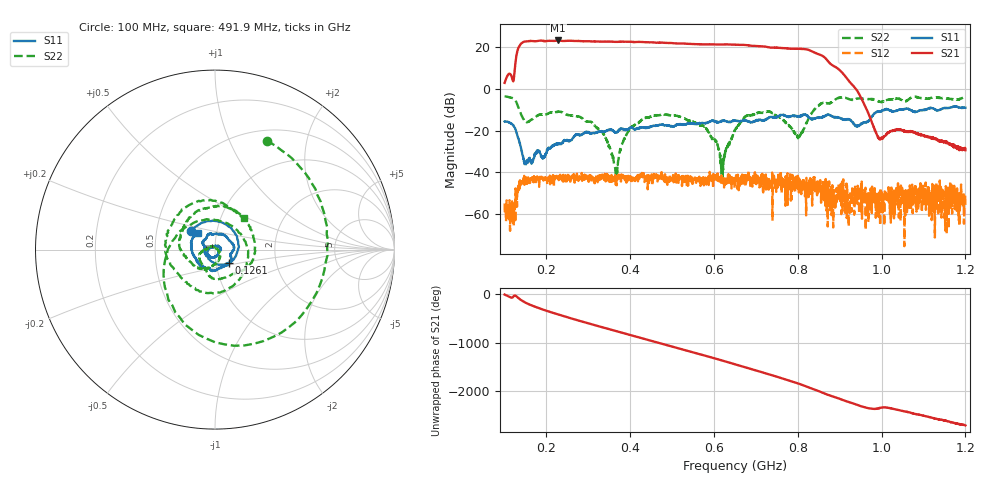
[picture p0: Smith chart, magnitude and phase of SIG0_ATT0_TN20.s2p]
# Hz S DB R 50
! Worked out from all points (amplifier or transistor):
!   1601 points, 100 MHz to 1.2 GHz, reference 50 ohm
!   highest |S21| = 23.4 dB at 227.9 MHz (marker M1)
!   |S21| within 3 dB of that: 134.3 MHz to 723.8 MHz (589.4 MHz wide, 137 % of centre)
!   unconditionally stable (mu >= 1): start of sweep to end of sweep
!   at 282.9 MHz: K = 4.85, MAG = 23.3 dB, |S12| = -43.1 dB
!   at 650 MHz: K = 8.00, MAG = 21.5 dB, |S12| = -45.7 dB
!   at 1.2 GHz: K = 5211.42, MAG = -26.1 dB, |S12| = -57.4 dB
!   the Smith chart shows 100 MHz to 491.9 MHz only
!   S11 on the Smith chart (normalised r, x): 100 MHz: 0.75, +0.16; 126.1 MHz: 1.15, -0.17; 491.9 MHz: 0.82, +0.15
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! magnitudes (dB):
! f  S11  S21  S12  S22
! 100 MHz  -15.6  3.0  -55.0  -3.5
! 126.1 MHz  -19.5  13.1  -47.7  -5.5
! 150.2 MHz  -35.5  22.9  -45.4  -15.7
! 227.9 MHz  -26.2  23.4  -42.9  -10.8
! 283.6 MHz  -22.1  23.0  -42.1  -13.7
! 334.4 MHz  -20.4  22.8  -41.7  -20.7
! 365.4 MHz  -21.0  22.7  -41.7  -41.0
! 400.4 MHz  -18.6  22.7  -41.8  -18.6
! 467.1 MHz  -17.5  22.3  -41.4  -12.6
! 491.9 MHz  -17.6  22.2  -42.5  -12.4
! 578.5 MHz  -16.3  21.5  -43.7  -18.1
! 619.1 MHz  -15.2  21.4  -45.9  -37.7
! 650 MHz  -15.2  21.3  -45.7  -19.6
! 731.1 MHz  -13.6  20.0  -43.2  -10.8
! 801.2 MHz  -13.1  19.4  -42.5  -22.2
! 833.6 MHz  -14.5  18.2  -48.8  -11.4
! 937.4 MHz  -17.8  0.4  -55.0  -4.8
! 993.8 MHz  -10.9  -23.4  -62.6  -6.1
! 1.017 GHz  -9.9  -20.8  -54.2  -4.9
! 1.155 GHz  -9.1  -25.9  -69.5  -4.5
! 1.168 GHz  -8.7  -26.8  -59.8  -4.8
! 1.2 GHz  -8.9  -29.4  -57.4  -3.4
